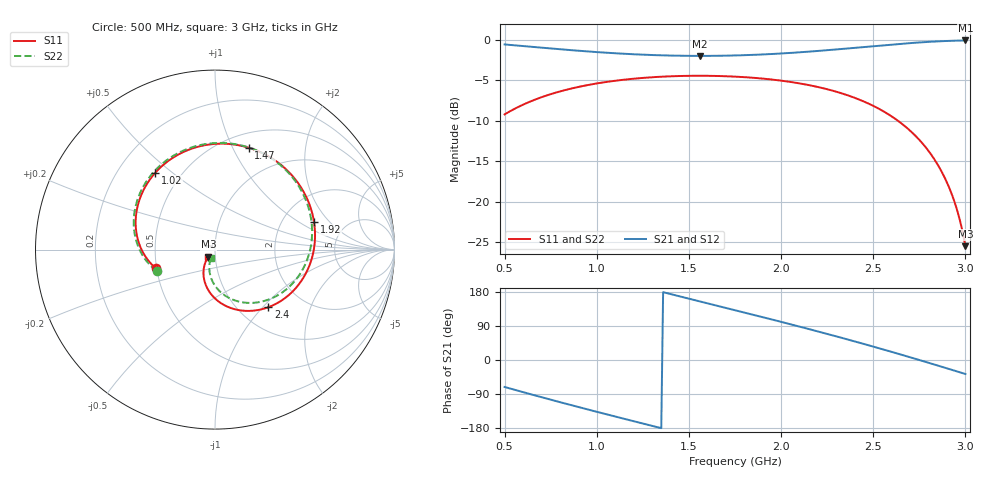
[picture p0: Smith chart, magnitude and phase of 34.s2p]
!freq-unit  param-type  data-format  keyword  impedance-ohms
# GHZ  S  RI  R  50
!Freq  ReS11  ImS11  ReS21  ImS21  ReS12  ImS12  ReS22  ImS22
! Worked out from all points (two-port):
!   251 points, 500 MHz to 3 GHz, reference 50 ohm
!   highest |S21| = -0.08 dB at 3 GHz (marker M1); lowest = -2.0 dB at 1.56 GHz (marker M2)
!   |S21| within 3 dB of the highest: start of sweep to end of sweep
!   lowest |S11| = -25.5 dB at 3 GHz (marker M3), VSWR 1.11, Z = 46.4 - j3.59 ohm
!   |S11| at or under -10 dB: 2.634 GHz to end of sweep
!   |S22| runs from -25.5 to -4.4 dB; largest |S21 - S12| = 0
!   S11 on the Smith chart (normalised r, x): 500 MHz: 0.49, -0.12; 1.02 GHz: 0.36, +0.44; 1.47 GHz: 0.65, +1.16; 1.92 GHz: 2.99, +1.37; 2.4 GHz: 1.36, -1.08; 3 GHz: 0.93, -0.07
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0.5  -0.3301 -0.1033  0.3012 -0.886  0.3012 -0.886  -0.3251 -0.1182
0.6  -0.3964 -0.0245  0.0829 -0.9112  0.0829 -0.9112  -0.3945 -0.0462
0.7  -0.4348 0.0769  -0.1263 -0.8851  -0.1263 -0.8851  -0.4389 0.0489
0.81  -0.4387 0.2017  -0.3336 -0.806  -0.3336 -0.806  -0.4526 0.1685
0.92  -0.4012 0.3257  -0.508 -0.6845  -0.508 -0.6845  -0.4275 0.2906
1.02  -0.334 0.4267  -0.6331 -0.5466  -0.6331 -0.5466  -0.3728 0.3935
1.18  -0.1745 0.5445  -0.762 -0.2917  -0.762 -0.2917  -0.233 0.5223
1.34  0.0229 0.59  -0.802 -0.0191  -0.802 -0.0191  -0.0505 0.5884
1.47  0.1883 0.5676  -0.7712 0.1985  -0.7712 0.1985  0.1093 0.588
1.56  0.2951 0.5217  -0.7186 0.3403  -0.7186 0.3403  0.2167 0.559
1.75  0.4733 0.3557  -0.5308 0.5987  -0.5308 0.5987  0.4096 0.4277
1.92  0.5517 0.1544  -0.2872 0.7611  -0.2872 0.7611  0.5158 0.2496
2.05  0.5491 -0.00865  -0.0644 0.8268  -0.0644 0.8268  0.541 0.095
2.17  0.4982 -0.1469  0.1588 0.8329  0.1588 0.8329  0.5176 -0.0448
2.29  0.4067 -0.257  0.3864 0.7793  0.3864 0.7793  0.4517 -0.166
2.4  0.2976 -0.3209  0.5852 0.6734  0.5852 0.6734  0.361 -0.2477
2.59  0.0961 -0.3282  0.8589 0.3627  0.8589 0.3627  0.1714 -0.2961
2.73  -0.0173 -0.2538  0.9583 0.049  0.9583 0.049  0.0472 -0.25
2.86  -0.0633 -0.1486  0.9407 -0.2714  0.9407 -0.2714  -0.0211 -0.1603
2.94  -0.0574 -0.0823  0.8717 -0.4629  0.8717 -0.4629  -0.0317 -0.0953
2.97  -0.0485 -0.0595  0.8346 -0.5307  0.8346 -0.5307  -0.029 -0.0712
3  -0.0364 -0.0386  0.7916 -0.5953  0.7916 -0.5953  -0.0228 -0.048
